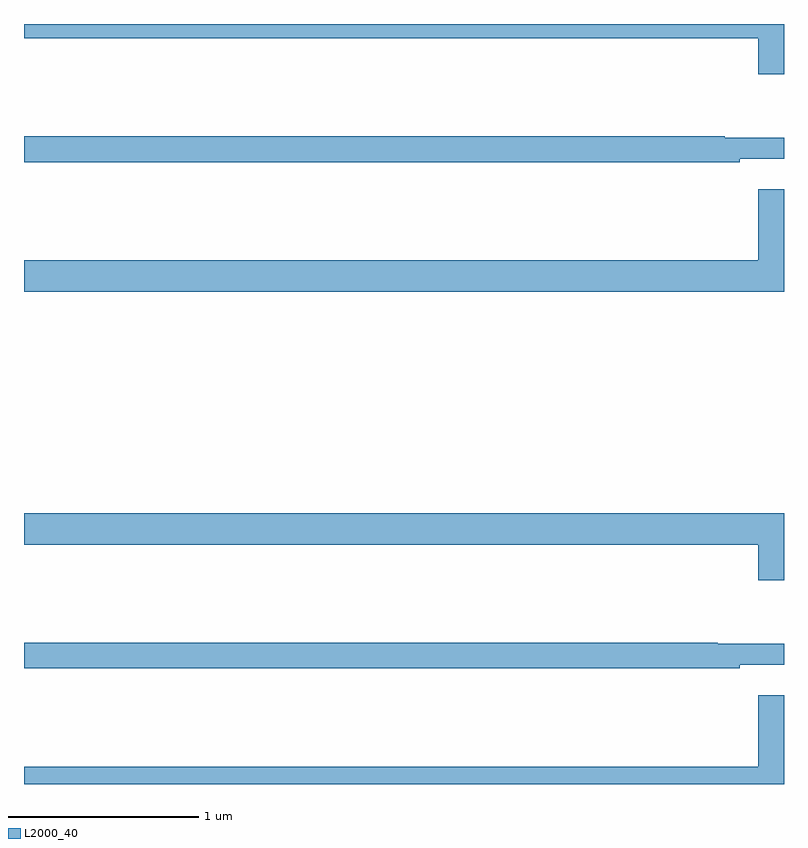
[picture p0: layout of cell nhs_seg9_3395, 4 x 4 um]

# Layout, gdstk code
import gdstk
lib = gdstk.Library(unit=1e-6, precision=1e-09)
def P(c, l, *ps):  # polygons
    for p in ps: c.add(gdstk.Polygon(p, *l))
L2000_40 = (2000, 40)

nhs_seg9_3395 = lib.new_cell('nhs_seg9_3395')
P(nhs_seg9_3395, L2000_40, [(309,1192.5),(305,1192.5),(305,1192.424),(308.864,1192.424),(308.864,1192.236),(309,1192.236)],
  [(308.768,1191.791),(309,1191.791),(309,1191.901),(308.687,1191.901),(308.687,1191.908),(305,1191.908),(305,1191.772),(308.768,1191.772)],
  [(309,1191.631),(308.864,1191.631),(308.864,1191.256),(305,1191.256),(305,1191.092),(309,1191.092)],
  [(309,1189.924),(305,1189.924),(305,1189.76),(308.864,1189.76),(308.864,1189.572),(309,1189.572)],
  [(308.768,1189.127),(309,1189.127),(309,1189.237),(308.651,1189.237),(308.651,1189.244),(305,1189.244),(305,1189.108),(308.768,1189.108)],
  [(309,1188.967),(308.864,1188.967),(308.864,1188.592),(305,1188.592),(305,1188.5),(309,1188.5)])

lib.write_gds('nhs_seg9_3395.gds')
